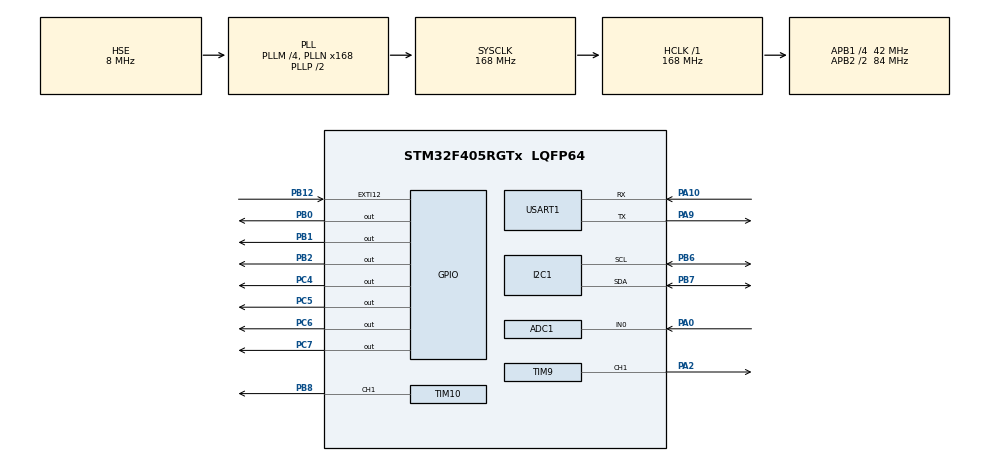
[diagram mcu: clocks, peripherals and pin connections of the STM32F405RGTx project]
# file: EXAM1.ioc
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ADC1.Channel-0\#ChannelRegularConversion=ADC_CHANNEL_0
ADC1.ContinuousConvMode=ENABLE
ADC1.DMAContinuousRequests=ENABLE
ADC1.NbrOfConversion=1
ADC1.NbrOfConversionFlag=1
ADC1.Rank-0\#ChannelRegularConversion=1
ADC1.SamplingTime-0\#ChannelRegularConversion=ADC_SAMPLETIME_56CYCLES
ADC1.master=1
Dma.ADC1.0.Direction=DMA_PERIPH_TO_MEMORY
Dma.ADC1.0.FIFOMode=DMA_FIFOMODE_DISABLE
Dma.ADC1.0.Instance=DMA2_Stream0
Dma.ADC1.0.MemDataAlignment=DMA_MDATAALIGN_HALFWORD
Dma.ADC1.0.MemInc=DMA_MINC_ENABLE
Dma.ADC1.0.Mode=DMA_CIRCULAR
Dma.ADC1.0.PeriphDataAlignment=DMA_PDATAALIGN_HALFWORD
Dma.ADC1.0.PeriphInc=DMA_PINC_DISABLE
Dma.ADC1.0.Priority=DMA_PRIORITY_LOW
Dma.Request0=ADC1
I2C1.I2C_Mode=I2C_Fast
Mcu.Family=STM32F4
Mcu.Name=STM32F405RGTx
Mcu.Package=LQFP64
NVIC.ADC_IRQn=true\:0\:0\:false\:false\:true\:true\:true
NVIC.DMA2_Stream0_IRQn=true\:0\:0\:false\:false\:true\:false\:true
NVIC.EXTI15_10_IRQn=true\:0\:0\:false\:false\:true\:true\:true
NVIC.PriorityGroup=NVIC_PRIORITYGROUP_4
NVIC.USART1_IRQn=true\:0\:0\:false\:false\:true\:true\:true
PA0-WKUP.Signal=ADCx_IN0
PA10.Mode=Asynchronous
PA10.Signal=USART1_RX
PA13.Mode=Serial_Wire
PA13.Signal=SYS_JTMS-SWDIO
PA14.Mode=Serial_Wire
PA14.Signal=SYS_JTCK-SWCLK
PA2.Signal=S_TIM9_CH1
PA9.Mode=Asynchronous
PA9.Signal=USART1_TX
PB0.Signal=GPIO_Output
PB1.Signal=GPIO_Output
PB12.GPIO_ModeDefaultEXTI=GPIO_MODE_IT_RISING
PB12.Signal=GPXTI12
PB2.Signal=GPIO_Output
PB6.Mode=I2C
PB6.Signal=I2C1_SCL
PB7.Mode=I2C
PB7.Signal=I2C1_SDA
PB8.Signal=S_TIM10_CH1
PC4.Signal=GPIO_Output
PC5.Signal=GPIO_Output
PC6.Signal=GPIO_Output
PC7.Signal=GPIO_Output
PH0-OSC_IN.Mode=HSE-External-Oscillator
PH0-OSC_IN.Signal=RCC_OSC_IN
PH1-OSC_OUT.Mode=HSE-External-Oscillator
PH1-OSC_OUT.Signal=RCC_OSC_OUT
ProjectManager.HeapSize=0x200
ProjectManager.StackSize=0x400
ProjectManager.TargetToolchain=EWARM V8.32
RCC.48MHZClocksFreq_Value=84000000
RCC.AHBFreq_Value=168000000
RCC.APB1CLKDivider=RCC_HCLK_DIV4
RCC.APB1Freq_Value=42000000
RCC.APB1TimFreq_Value=84000000
RCC.APB2CLKDivider=RCC_HCLK_DIV2
RCC.APB2Freq_Value=84000000
RCC.APB2TimFreq_Value=168000000
RCC.CortexFreq_Value=168000000
RCC.HCLKFreq_Value=168000000
RCC.HSE_VALUE=8000000
RCC.HSI_VALUE=16000000
RCC.LSE_VALUE=32768
RCC.PLLM=4
RCC.PLLN=168
RCC.PLLSourceVirtual=RCC_PLLSOURCE_HSE
RCC.SYSCLKFreq_VALUE=168000000
RCC.SYSCLKSource=RCC_SYSCLKSOURCE_PLLCLK
RCC.VCOOutputFreq_Value=336000000
SH.ADCx_IN0.0=ADC1_IN0,IN0
SH.S_TIM10_CH1.0=TIM10_CH1,PWM Generation1 CH1
SH.S_TIM9_CH1.0=TIM9_CH1,PWM Generation1 CH1
TIM10.Channel=TIM_CHANNEL_1
TIM9.Channel-PWM\ Generation1\ CH1=TIM_CHANNEL_1
USART1.VirtualMode=VM_ASYNC
VP_TIM10_VS_ClockSourceINT.Mode=Enable_Timer
VP_TIM9_VS_ClockSourceINT.Mode=Internal
board=custom

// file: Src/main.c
/* USER CODE BEGIN Header */
/**
  ******************************************************************************
  * @file           : main.c
  * @brief          : Main program body
  ******************************************************************************
  * @attention
  *
  * <h2><center>&copy; Copyright (c) 2020 STMicroelectronics.
  * All rights reserved.</center></h2>
  *
  * This software component is licensed by ST under BSD 3-Clause license,
  * the "License"; You may not use this file except in compliance with the
  * License. You may obtain a copy of the License at:
  *                        opensource.org/licenses/BSD-3-Clause
  *
  ******************************************************************************
  */
/* USER CODE END Header */

#include "main.h"
#include "adc.h"
#include "dma.h"
#include "i2c.h"
#include "tim.h"
#include "usart.h"
#include "gpio.h"

/* USER CODE BEGIN Includes */
#include "lcd.h"
#include "stdio.h"
/* USER CODE END Includes */

/* USER CODE BEGIN PD */
#define SHT2x_ADDR              0x40<<1
#define SHT2x_HOLD_MASTER_T     0xE3
#define SHT2x_HOLD_MASTER_RH    0xE5
#define SHT2x_NOHOLD_MASTER_T   0xF3
#define SHT2x_NOHOLD_MASTER_RH  0xF5
#define SHT2x_WRITE_USER_REG    0xE6
#define SHT2x_READ_USER_REG     0xE7
#define SHT2x_SOFT_RESET        0xFE

/* USER CODE END PD */

/* USER CODE BEGIN PV */
uint8_t rxData;
uint8_t CCR1_val=0;
uint32_t adcData=0;
uint32_t val[1];
char str[10];
char val2[4];
unsigned int piano[8] = {523,587,659,698,783,880,987,1046};
unsigned int piano2[10] = {1318,1174,1046,987,880,783,698,659,587,523};
int i=0;
int key =1;
int oldkey =1;

uint8_t i2cData[2];
uint16_t VALUE = 0;
uint8_t mode;
float TEMP, HUMI;
char str_i2c[16];

unsigned char menu[] = "+++ MENU +++\r\n L : LED\r\n C : CDS(DMA)\r\n 0~7 : PIANO\r\n T : TEMP,HUMID\r\n Push Button : stop\r\n";

/* USER CODE END PV */

void SystemClock_Config(void);

int main(void)
{

  /* MCU Configuration--------------------------------------------------------*/

  /* Reset of all peripherals, Initializes the Flash interface and the Systick. */
  HAL_Init();

  /* Configure the system clock */
  SystemClock_Config();

  /* Initialize all configured peripherals */
  MX_GPIO_Init();
  MX_DMA_Init();
  MX_USART1_UART_Init();
  MX_ADC1_Init();
  MX_I2C1_Init();
  MX_TIM9_Init();
  MX_TIM10_Init();
  /* USER CODE BEGIN 2 */

  lcdInit();
  lcdGotoXY(0,0);

  HAL_UART_Receive_IT(&huart1, &rxData, 1);

  HAL_TIM_PWM_Start(&htim10,TIM_CHANNEL_1);
  HAL_TIM_PWM_Start(&htim9,TIM_CHANNEL_1);

  HAL_ADC_Start_IT(&hadc1);
  HAL_ADC_Start_DMA(&hadc1,val,1);

  HAL_UART_Transmit(&huart1,menu,91,10);

  /* USER CODE END 2 */

  /* Infinite loop */
  /* USER CODE BEGIN WHILE */
  while (1)
  {
    if(rxData == 'T')
    {
      mode = SHT2x_NOHOLD_MASTER_T;
      HAL_I2C_Master_Transmit(&hi2c1, SHT2x_ADDR, &mode,1,10);
      HAL_Delay(300);
      HAL_I2C_Master_Receive(&hi2c1,SHT2x_ADDR,i2cData,2,10);
      VALUE = i2cData[0] << 8 | i2cData[1];
      TEMP = -46.85 + 175.72 *((float)VALUE/65536);
      lcdGotoXY(0,0);
      sprintf(str_i2c,"TEMP : %5.3lf", TEMP);
      lcdPrint(str_i2c);

      mode = SHT2x_NOHOLD_MASTER_RH;
      HAL_I2C_Master_Transmit(&hi2c1, SHT2x_ADDR, &mode,1,10);
      HAL_Delay(300);
      HAL_I2C_Master_Receive(&hi2c1,SHT2x_ADDR,i2cData,2,10);
      VALUE = i2cData[0] << 8 | i2cData[1];
      HUMI = -6 + 125*((float)VALUE/65536);
      lcdGotoXY(0,1);
      sprintf(str_i2c,"HUMID : %5.3lf", HUMI);
      lcdPrint(str_i2c);
    }

    if(rxData == 'L')
    {
      TIM10->CCR1 = CCR1_val;
      CCR1_val++;
      if(CCR1_val > 80) CCR1_val = 0;
      HAL_Delay(10);
    }

    if(rxData == 'C')
    {

      lcdGotoXY(0,0);
      lcdPrintData("ADC DMA_TEST!",13);
      lcdGotoXY(0,1);
      sprintf(str,"CdsValue: ");
      lcdPrintData(str,10);

      val2[0] = val[0]/1000 + 48;
      val2[1] = (val[0]/100)%10 + 48;
      val2[2] = (val[0]/10)%10 + 48;
      val2[3] = val[0]%10 + 48;
      lcdPrintData(val2,4);
      HAL_Delay(300);
    }

    if((rxData-48 >=0 && rxData-48 <= 9))
    {
      TIM9->ARR = piano2[rxData-48]-1;
      TIM9->CCR1 = piano2[rxData-48]/5;
      HAL_Delay(100);
      TIM9->ARR = 0;
      TIM9->CCR1 = 0;
      rxData = 'z';L
    }
    /* USER CODE END WHILE */

  }
}

void SystemClock_Config(void)
{
  RCC_OscInitTypeDef RCC_OscInitStruct = {0};
  RCC_ClkInitTypeDef RCC_ClkInitStruct = {0};

  /** Configure the main internal regulator output voltage
  */
  __HAL_RCC_PWR_CLK_ENABLE();
  __HAL_PWR_VOLTAGESCALING_CONFIG(PWR_REGULATOR_VOLTAGE_SCALE1);
  /** Initializes the CPU, AHB and APB busses clocks
  */
  RCC_OscInitStruct.OscillatorType = RCC_OSCILLATORTYPE_HSE;
  RCC_OscInitStruct.HSEState = RCC_HSE_ON;
  RCC_OscInitStruct.PLL.PLLState = RCC_PLL_ON;
  RCC_OscInitStruct.PLL.PLLSource = RCC_PLLSOURCE_HSE;
  RCC_OscInitStruct.PLL.PLLM = 4;
  RCC_OscInitStruct.PLL.PLLN = 168;
  RCC_OscInitStruct.PLL.PLLP = RCC_PLLP_DIV2;
  RCC_OscInitStruct.PLL.PLLQ = 4;
  if (HAL_RCC_OscConfig(&RCC_OscInitStruct) != HAL_OK)
  {
    Error_Handler();
  }
  /** Initializes the CPU, AHB and APB busses clocks
  */
  RCC_ClkInitStruct.ClockType = RCC_CLOCKTYPE_HCLK|RCC_CLOCKTYPE_SYSCLK
                              |RCC_CLOCKTYPE_PCLK1|RCC_CLOCKTYPE_PCLK2;
  RCC_ClkInitStruct.SYSCLKSource = RCC_SYSCLKSOURCE_PLLCLK;
  RCC_ClkInitStruct.AHBCLKDivider = RCC_SYSCLK_DIV1;
  RCC_ClkInitStruct.APB1CLKDivider = RCC_HCLK_DIV4;
  RCC_ClkInitStruct.APB2CLKDivider = RCC_HCLK_DIV2;

  if (HAL_RCC_ClockConfig(&RCC_ClkInitStruct, FLASH_LATENCY_5) != HAL_OK)
  {
    Error_Handler();
  }
}

/* USER CODE BEGIN 4 */
void HAL_UART_RxCpltCallback(UART_HandleTypeDef *huart)
{
  if(huart->Instance == USART1)
  {
    HAL_UART_Receive_IT(&huart1, &rxData, 1);
    HAL_UART_Transmit(&huart1, &rxData, 1,10);
  }
}
void HAL_GPIO_EXTI_Callback(uint16_t GPIO_Pin)
{
  if(HAL_GPIO_ReadPin(GPIOB, GPIO_PIN_12))
  {
    rxData = 'z';
    HAL_UART_Transmit(&huart1,menu,91,10);
  }
}

/* USER CODE END 4 */

void Error_Handler(void)
{
}

/************************ (C) COPYRIGHT STMicroelectronics *****END OF FILE****/
